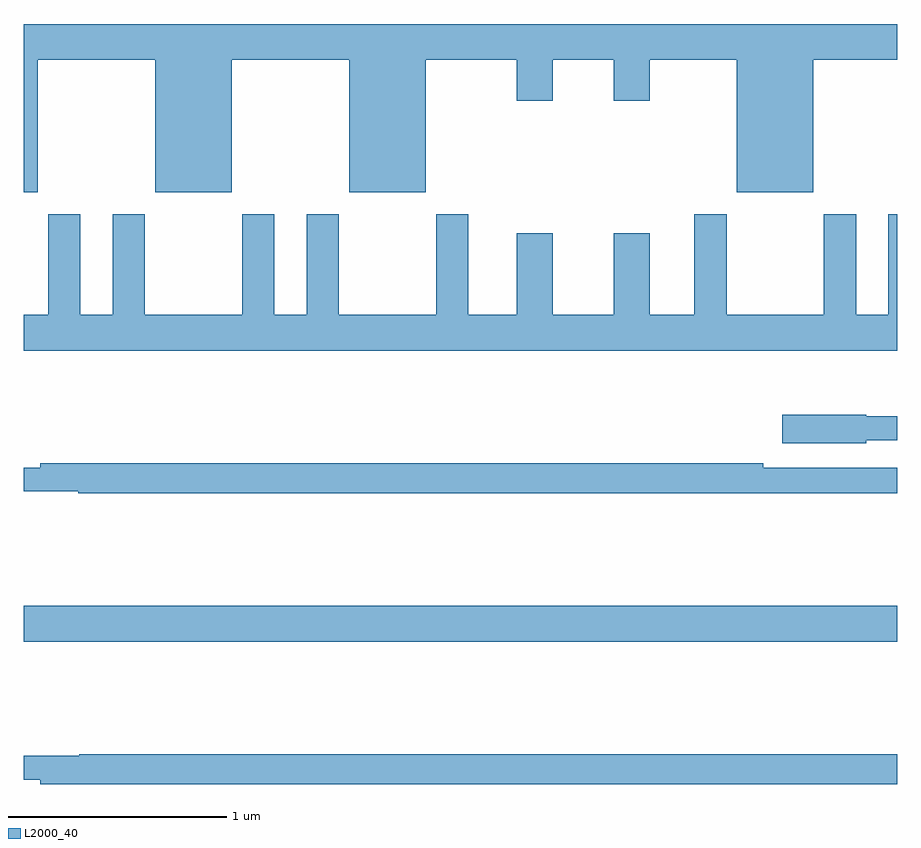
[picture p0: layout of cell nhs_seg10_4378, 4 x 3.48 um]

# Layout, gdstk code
import gdstk
lib = gdstk.Library(unit=1e-6, precision=1e-09)
def R(c, l, rs):  # rectangles x0, y0, x1, y1
    for r in rs: c.add(gdstk.rectangle(r[:2], r[2:], *l))
def P(c, l, *ps):  # polygons
    for p in ps: c.add(gdstk.Polygon(p, *l))
L2000_40 = (2000, 40)

nhs_seg10_4378 = lib.new_cell('nhs_seg10_4378')
R(nhs_seg10_4378, L2000_40, [(357,1325.624,361,1325.788)])
P(nhs_seg10_4378, L2000_40, [(357.064,1328.288),(357.602,1328.288),(357.602,1327.682),(357.952,1327.682),(357.952,1328.288),(358.49,1328.288),(358.49,1327.682),(358.84,1327.682),(358.84,1328.288),(359.258,1328.288),(359.258,1328.1),(359.422,1328.1),(359.422,1328.288),(359.702,1328.288),(359.702,1328.1),(359.866,1328.1),(359.866,1328.288),(360.266,1328.288),(360.266,1327.682),(360.616,1327.682),(360.616,1328.288),(361,1328.288),(361,1328.452),(357,1328.452),(357,1327.682),(357.064,1327.682)],
  [(361,1327.582),(360.959,1327.582),(360.959,1327.12),(360.811,1327.12),(360.811,1327.582),(360.664,1327.582),(360.664,1327.12),(360.219,1327.12),(360.219,1327.582),(360.071,1327.582),(360.071,1327.12),(359.866,1327.12),(359.866,1327.495),(359.702,1327.495),(359.702,1327.12),(359.422,1327.12),(359.422,1327.495),(359.258,1327.495),(359.258,1327.12),(359.035,1327.12),(359.035,1327.582),(358.888,1327.582),(358.888,1327.12),(358.443,1327.12),(358.443,1327.582),(358.295,1327.582),(358.295,1327.12),(358.147,1327.12),(358.147,1327.582),(358,1327.582),(358,1327.12),(357.555,1327.12),(357.555,1327.582),(357.407,1327.582),(357.407,1327.12),(357.259,1327.12),(357.259,1327.582),(357.112,1327.582),(357.112,1327.12),(357,1327.12),(357,1326.956),(361,1326.956)],
  [(360.858,1326.546),(361,1326.546),(361,1326.655),(360.858,1326.655),(360.858,1326.663),(360.474,1326.663),(360.474,1326.533),(360.858,1326.533)],
  [(361,1326.42),(360.386,1326.42),(360.386,1326.44),(357.076,1326.44),(357.076,1326.421),(357,1326.421),(357,1326.312),(357.25,1326.312),(357.25,1326.304),(361,1326.304)],
  [(361,1325.108),(357.255,1325.108),(357.255,1325.101),(357,1325.101),(357,1324.991),(357.076,1324.991),(357.076,1324.972),(361,1324.972)])

lib.write_gds('nhs_seg10_4378.gds')
